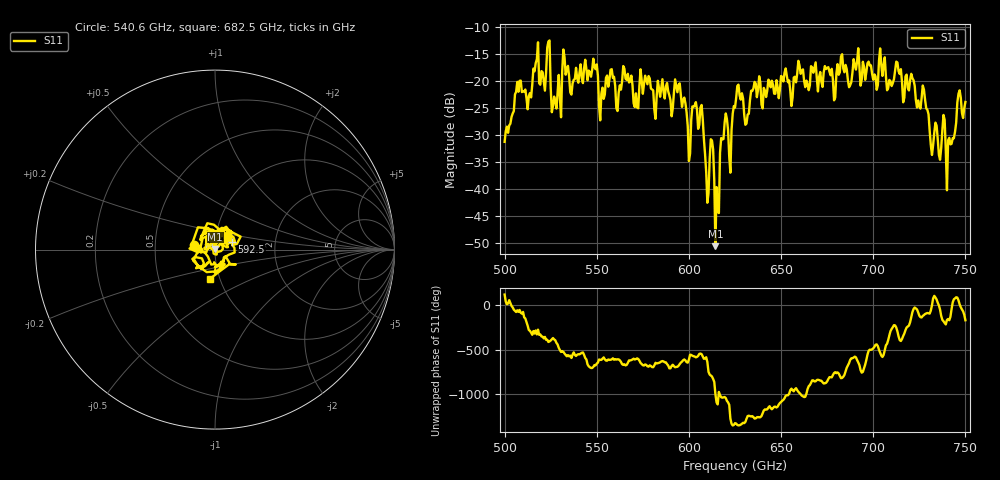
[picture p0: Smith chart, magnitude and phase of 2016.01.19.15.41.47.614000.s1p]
!Created with skrf (http://scikit-rf.org).
# GHz S RI R 50.0
!freq ReS11 ImS11
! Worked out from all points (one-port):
!   401 points, 500 GHz to 750 GHz, reference 50 ohm
!   lowest |S11| = -50.6 dB at 614.4 GHz (marker M1), VSWR 1.01, Z = 50.1 + j0.29 ohm
!   |S11| at or under -10 dB: start of sweep to end of sweep
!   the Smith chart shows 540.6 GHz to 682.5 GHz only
!   S11 on the Smith chart (normalised r, x): 540.6 GHz: 0.79, +0.04; 592.5 GHz: 1.20, +0.10; 682.5 GHz: 0.89, -0.30
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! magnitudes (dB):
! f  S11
! 500 GHz  -31.3
! 507.5 GHz  -22.0
! 513.8 GHz  -22.3
! 516.9 GHz  -16.7
! 523.8 GHz  -12.7
! 526.9 GHz  -22.9
! 531.2 GHz  -18.2
! 540.6 GHz  -18.5
! 562.5 GHz  -20.8
! 592.5 GHz  -19.7
! 593.8 GHz  -22.1
! 600 GHz  -34.8
! 603.1 GHz  -24.6
! 606.9 GHz  -24.5
! 609.4 GHz  -36.9
! 612.5 GHz  -31.0
! 614.4 GHz  -50.6
! 615.6 GHz  -44.3
! 618.8 GHz  -30.8
! 622.5 GHz  -37.0
! 625 GHz  -25.0
! 656.2 GHz  -23.1
! 682.5 GHz  -15.5
! 687.5 GHz  -20.8
! 718.8 GHz  -21.3
! 740.6 GHz  -31.0
! 746.2 GHz  -22.4
! 750 GHz  -23.9
